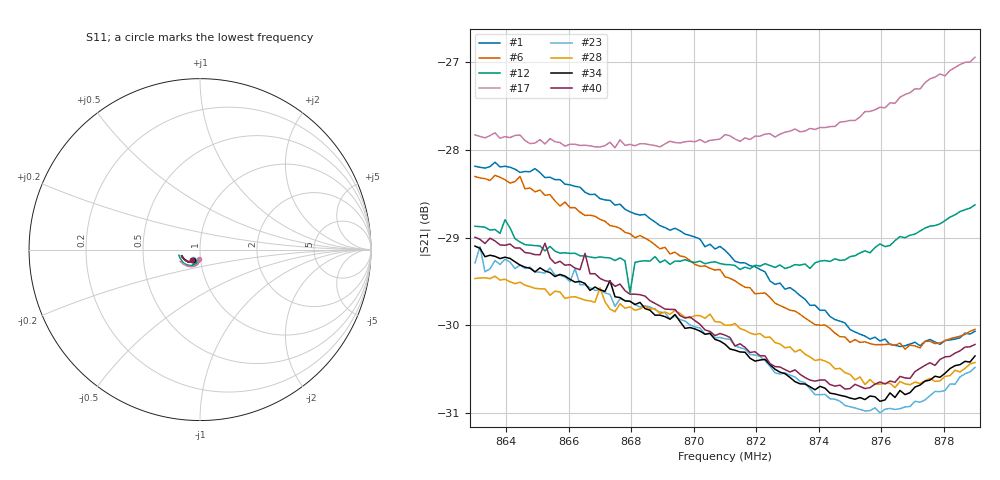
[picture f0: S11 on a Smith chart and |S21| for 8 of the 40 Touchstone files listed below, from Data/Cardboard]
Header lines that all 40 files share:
# HZ S RI R 50
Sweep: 863 MHz to 879 MHz
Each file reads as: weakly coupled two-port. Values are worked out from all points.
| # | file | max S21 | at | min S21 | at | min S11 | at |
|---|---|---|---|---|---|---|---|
| 1 | co0s1.s2p | -28.14 dB | 863.64 MHz | -30.2 dB | 876.6 MHz | -22.8 dB | 865.4 MHz |
| 2 | co0s2.s2p | -28.10 dB | 865.72 MHz | -30.0 dB | 876.92 MHz | -23.0 dB | 864.44 MHz |
| 3 | co0s3.s2p | -28.32 dB | 863.32 MHz | -30.1 dB | 876.6 MHz | -23.3 dB | 865.56 MHz |
| 4 | co0s4.s2p | -28.18 dB | 865.24 MHz | -30.0 dB | 876.44 MHz | -23.1 dB | 865.56 MHz |
| 5 | co0s5.s2p | -28.41 dB | 863.16 MHz | -30.2 dB | 876.44 MHz | -23.0 dB | 864.44 MHz |
| 6 | co0s7.s2p | -28.29 dB | 863.64 MHz | -30.3 dB | 876.76 MHz | -22.9 dB | 865.24 MHz |
| 7 | co0s8.s2p | -28.41 dB | 863.16 MHz | -30.5 dB | 876.6 MHz | -23.0 dB | 864.44 MHz |
| 8 | co0s9.s2p | -28.43 dB | 863 MHz | -30.4 dB | 876.12 MHz | -22.9 dB | 865.24 MHz |
| 9 | co1s0.s2p | -29.77 dB | 863 MHz | -31.7 dB | 873.72 MHz | -27.1 dB | 864.12 MHz |
| 10 | co1s3.s2p | -29.15 dB | 865.56 MHz | -30.6 dB | 874.68 MHz | -24.6 dB | 863.16 MHz |
| 11 | co1s4.s2p | -29.48 dB | 863 MHz | -31.5 dB | 873.88 MHz | -26.1 dB | 864.44 MHz |
| 12 | co1s7.s2p | -28.63 dB | 879 MHz | -29.6 dB | 867.96 MHz | -23.1 dB | 863.16 MHz |
| 13 | co1s8.s2p | -29.73 dB | 863 MHz | -31.1 dB | 872.6 MHz | -25.3 dB | 865.4 MHz |
| 14 | co1s10.s2p | -29.90 dB | 864.28 MHz | -31.9 dB | 873.72 MHz | -23.9 dB | 865.24 MHz |
| 15 | co1s11.s2p | -29.20 dB | 863.32 MHz | -30.0 dB | 873.56 MHz | -23.9 dB | 864.12 MHz |
| 16 | co1s12.s2p | -27.09 dB | 879 MHz | -29.2 dB | 864.28 MHz | -28.3 dB | 863 MHz |
| 17 | co1s13.s2p | -26.95 dB | 879 MHz | -28.0 dB | 867.48 MHz | -25.4 dB | 863 MHz |
| 18 | co1s15.s2p | -30.83 dB | 863 MHz | -32.7 dB | 874.84 MHz | -25.0 dB | 868.44 MHz |
| 19 | co1s16.s2p | -30.23 dB | 879 MHz | -31.2 dB | 874.36 MHz | -25.3 dB | 864.12 MHz |
| 20 | co2s0.s2p | -27.53 dB | 863.16 MHz | -30.1 dB | 875 MHz | -22.7 dB | 864.6 MHz |
| 21 | co2s1.s2p | -28.96 dB | 863 MHz | -30.7 dB | 876.12 MHz | -23.1 dB | 865.4 MHz |
| 22 | co2s2.s2p | -28.57 dB | 863.32 MHz | -30.8 dB | 876.44 MHz | -23.2 dB | 865.56 MHz |
| 23 | co2s3.s2p | -29.10 dB | 863.16 MHz | -31.0 dB | 875.96 MHz | -23.2 dB | 863.96 MHz |
| 24 | co2s4.s2p | -29.28 dB | 863.64 MHz | -31.1 dB | 875.64 MHz | -23.4 dB | 866.36 MHz |
| 25 | co2s5.s2p | -28.78 dB | 863.64 MHz | -30.6 dB | 876.44 MHz | -23.1 dB | 864.6 MHz |
| 26 | co2s6.s2p | -29.07 dB | 863 MHz | -30.8 dB | 875.64 MHz | -23.0 dB | 864.44 MHz |
| 27 | co2s7.s2p | -29.02 dB | 863.16 MHz | -31.0 dB | 875.64 MHz | -23.1 dB | 863.96 MHz |
| 28 | co2s8.s2p | -29.44 dB | 863.64 MHz | -30.7 dB | 876.44 MHz | -22.9 dB | 864.44 MHz |
| 29 | co2s10.s2p | -28.36 dB | 863 MHz | -31.4 dB | 875.64 MHz | -23.2 dB | 864.92 MHz |
| 30 | co2s11.s2p | -28.90 dB | 863.48 MHz | -30.9 dB | 875.48 MHz | -23.1 dB | 863.48 MHz |
| 31 | co2s12.s2p | -28.99 dB | 863.8 MHz | -31.0 dB | 875.64 MHz | -23.2 dB | 865.24 MHz |
| 32 | co3s0.s2p | -28.78 dB | 863.16 MHz | -30.7 dB | 875.64 MHz | -22.9 dB | 865.24 MHz |
| 33 | co3s2.s2p | -29.12 dB | 863 MHz | -30.5 dB | 876.12 MHz | -23.0 dB | 865.4 MHz |
| 34 | co3s4.s2p | -29.10 dB | 863 MHz | -30.9 dB | 875.96 MHz | -23.2 dB | 866.04 MHz |
| 35 | co3s5.s2p | -29.13 dB | 863.48 MHz | -30.8 dB | 876.12 MHz | -23.2 dB | 865.56 MHz |
| 36 | co3s6.s2p | -28.91 dB | 863.32 MHz | -31.0 dB | 876.12 MHz | -23.2 dB | 864.92 MHz |
| 37 | co3s7.s2p | -29.11 dB | 863 MHz | -31.0 dB | 875 MHz | -23.1 dB | 865.56 MHz |
| 38 | co3s8.s2p | -28.91 dB | 863 MHz | -30.7 dB | 875.16 MHz | -23.2 dB | 865.24 MHz |
| 39 | co3s9.s2p | -28.55 dB | 863 MHz | -30.4 dB | 876.12 MHz | -23.0 dB | 864.44 MHz |
| 40 | co3s11.s2p | -29.00 dB | 863 MHz | -30.7 dB | 874.84 MHz | -23.3 dB | 865.24 MHz |
